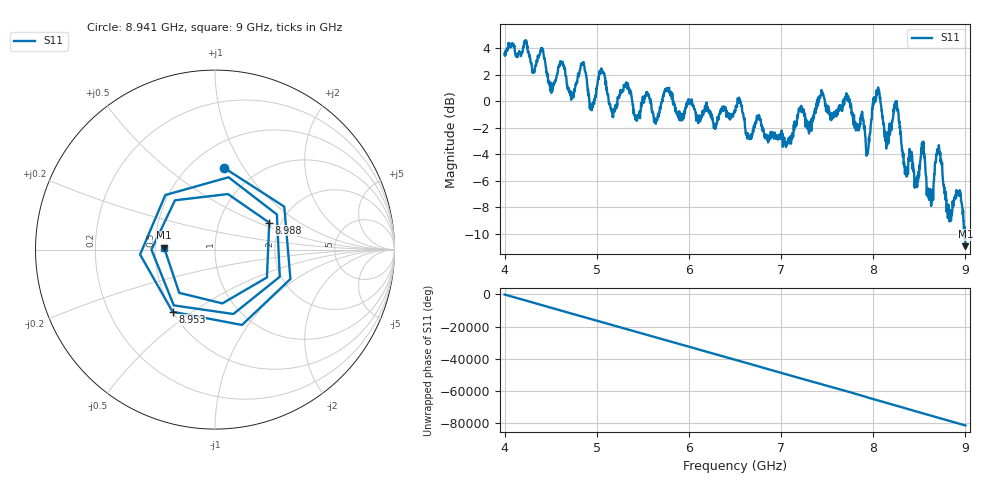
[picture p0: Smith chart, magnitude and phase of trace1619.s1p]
! Created with skrf 1.8.0 (http://scikit-rf.org).
# Hz S RI R 50.0
!freq ReS11 ImS11
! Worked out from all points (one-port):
!   1601 points, 4 GHz to 9 GHz, reference 50 ohm
!   lowest |S11| = -10.9 dB at 9 GHz (marker M1), VSWR 1.79, Z = 27.9 + j0.649 ohm
!   |S11| at or under -10 dB: 8.99238 GHz to end of sweep
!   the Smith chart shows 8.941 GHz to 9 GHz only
!   S11 on the Smith chart (normalised r, x): 8.941 GHz: 0.71, +0.82; 8.953 GHz: 0.50, -0.42; 8.988 GHz: 1.74, +0.59; 9 GHz: 0.56, +0.01
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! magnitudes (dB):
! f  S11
! 4 GHz  3.6
! 4.406 GHz  4.0
! 4.509 GHz  0.7
! 4.625 GHz  2.9
! 4.728 GHz  0.4
! 4.853 GHz  2.8
! 4.947 GHz  -0.7
! 5.05 GHz  2.5
! 5.162 GHz  -0.8
! 5.25 GHz  0.5
! 5.875 GHz  -0.9
! 6.5 GHz  -0.7
! 7.125 GHz  -2.6
! 7.438 GHz  0.9
! 7.75 GHz  -0.3
! 7.938 GHz  -3.8
! 8.034 GHz  0.6
! 8.144 GHz  -3.0
! 8.247 GHz  -0.1
! 8.375 GHz  -5.3
! 8.538 GHz  -3.1
! 8.625 GHz  -7.3
! 8.709 GHz  -3.6
! 8.822 GHz  -8.8
! 8.941 GHz  -6.8
! 8.953 GHz  -7.5
! 8.988 GHz  -9.4
! 9 GHz  -10.9
